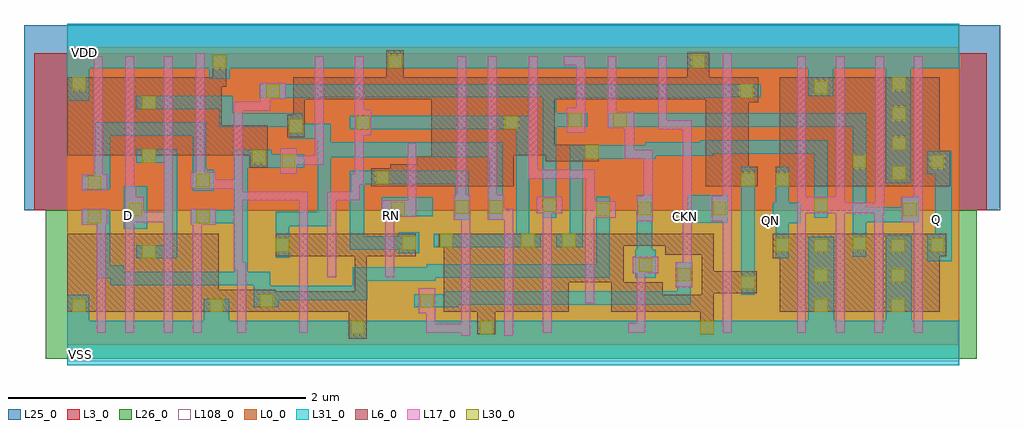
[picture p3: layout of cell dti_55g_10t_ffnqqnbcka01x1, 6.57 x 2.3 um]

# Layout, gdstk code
from math import pi, radians
import gdstk
lib = gdstk.Library(unit=1e-6, precision=1e-09)
def R(c, l, rs):  # rectangles x0, y0, x1, y1
    for r in rs: c.add(gdstk.rectangle(r[:2], r[2:], *l))
def P(c, l, *ps):  # polygons
    for p in ps: c.add(gdstk.Polygon(p, *l))
L0_0 = (0, 0)
L3_0 = (3, 0)
L6_0 = (6, 0)
L17_0 = (17, 0)
L25_0 = (25, 0)
L26_0 = (26, 0)
L30_0 = (30, 0)
L31_0 = (31, 0)
L108_0 = (108, 0)
L923_0 = (923, 0)

template_55g_10t_2 = lib.new_cell('template_55g_10t$2')
R(template_55g_10t_2, L31_0, [(0,-0.15,0.2,0.15), (0,1.85,0.2,2.15)])
template_55g_10t_2.add(gdstk.FlexPath([(0.2,0.21),(0,0.21)], 0, ends="flush", simple_path=True, layer=923, datatype=0))  # L923_0
template_55g_10t_2.add(gdstk.FlexPath([(0.2,0.735),(0,0.735)], 0, ends="flush", simple_path=True, layer=923, datatype=0))  # L923_0
template_55g_10t_2.add(gdstk.FlexPath([(0.2,0.895),(0,0.895)], 0, ends="flush", simple_path=True, layer=923, datatype=0))  # L923_0
template_55g_10t_2.add(gdstk.FlexPath([(0.2,1.055),(0,1.055)], 0, ends="flush", simple_path=True, layer=923, datatype=0))  # L923_0
template_55g_10t_2.add(gdstk.FlexPath([(0.2,1.79),(0,1.79)], 0, ends="flush", simple_path=True, layer=923, datatype=0))  # L923_0

cellgrid_nom2_2 = lib.new_cell('cellgrid_noM2$2')
R(cellgrid_nom2_2, L0_0, [(0,0,0.2,0.2)])
cellgrid_nom2_2.add(gdstk.FlexPath([(0.2,0),(0,0.2)], 0, ends="flush", simple_path=True, layer=0, datatype=0))  # L0_0
cellgrid_nom2_2.add(gdstk.FlexPath([(0.2,0.2),(0,0)], 0, ends="flush", simple_path=True, layer=0, datatype=0))  # L0_0

cnt_n_2 = lib.new_cell('cnt_n$2')
R(cnt_n_2, L6_0, [(-0.06,-0.075,0.06,0.075)])
R(cnt_n_2, L30_0, [(-0.045,-0.045,0.045,0.045)])
R(cnt_n_2, L31_0, [(-0.045,-0.045,0.045,0.045)])

pmos_735_n_2 = lib.new_cell('pmos_735_n_2')
R(pmos_735_n_2, L3_0, [(-0.275,-0.16,0.335,0.895)])
R(pmos_735_n_2, L6_0, [(-0.115,0,0.175,0.735)])
R(pmos_735_n_2, L17_0, [(0,-0.14,0.06,0.875)])
R(pmos_735_n_2, L25_0, [(-0.245,-0.16,0.305,0.895)])

pmos_4_n_2 = lib.new_cell('pmos_4_n_2')
R(pmos_4_n_2, L3_0, [(-0.275,-0.16,0.335,0.56)])
R(pmos_4_n_2, L6_0, [(-0.115,0,0.175,0.4)])
R(pmos_4_n_2, L17_0, [(0,-0.14,0.06,0.54)])
R(pmos_4_n_2, L25_0, [(-0.245,-0.16,0.305,0.56)])

pmos_15_n_2 = lib.new_cell('pmos_15_n_2')
R(pmos_15_n_2, L3_0, [(-0.275,-0.16,0.335,0.31)])
R(pmos_15_n_2, L6_0, [(-0.115,0,0.175,0.15)])
R(pmos_15_n_2, L17_0, [(0,-0.14,0.06,0.29)])
R(pmos_15_n_2, L25_0, [(-0.245,-0.16,0.305,0.31)])

nmos_525_n_2 = lib.new_cell('nmos_525_n_2')
R(nmos_525_n_2, L6_0, [(-0.115,0,0.175,0.525)])
R(nmos_525_n_2, L17_0, [(0,-0.14,0.06,0.665)])
R(nmos_525_n_2, L26_0, [(-0.245,-0.16,0.305,0.685)])

cnt_2 = lib.new_cell('cnt$2')
R(cnt_2, L30_0, [(-0.045,-0.045,0.045,0.045)])
R(cnt_2, L31_0, [(-0.045,-0.045,0.045,0.045)])

pcnt_v_1 = lib.new_cell('pcnt_v$1')
R(pcnt_v_1, L17_0, [(-0.055,-0.085,0.055,0.085)])
P(pcnt_v_1, L17_0, [(0.005,0.04),(0.005,0.04),(0.005,0.04),(0.005,0.04)])
pcnt_v_1.add(gdstk.Reference(cnt_2, (0,0)))

cnt = lib.new_cell('cnt')
R(cnt, L30_0, [(-0.045,-0.045,0.045,0.045)])
R(cnt, L31_0, [(-0.045,-0.045,0.045,0.045)])

nmos_15_n_2 = lib.new_cell('nmos_15_n_2')
R(nmos_15_n_2, L6_0, [(-0.115,0,0.175,0.15)])
R(nmos_15_n_2, L17_0, [(0,-0.14,0.06,0.29)])
R(nmos_15_n_2, L26_0, [(-0.245,-0.16,0.305,0.31)])

nmos_1_n_2 = lib.new_cell('nmos_1_n_2')
R(nmos_1_n_2, L6_0, [(-0.115,0,0.175,0.14)])
R(nmos_1_n_2, L17_0, [(0,-0.14,0.06,0.27)])
R(nmos_1_n_2, L26_0, [(-0.245,-0.16,0.305,0.275)])

dti_55g_10t_ffnqqnbcka01 = lib.new_cell('dti_55g_10t_ffnqqnbcka01x1')
R(dti_55g_10t_ffnqqnbcka01, L3_0, [(-0.22,0.895,6.185,1.95)])
R(dti_55g_10t_ffnqqnbcka01, L6_0, [(2.76,0.06,2.88,0.26), (4.26,0.06,4.35,0.21), (1.895,0.18,2.015,0.21), (1.935,0.18,2.015,0.735), (0,0.21,0.105,0.735), (1.02,0.21,1.03,0.36), (1.39,0.21,1.485,0.35), (1.7,0.21,2.015,0.35), (3.745,0.36,4.005,0.41), (3.375,0.41,3.66,0.535), (3.375,0.535,3.66,0.585), (4.745,0.57,4.795,0.735), (1.405,0.585,1.445,0.735), (1.925,0.585,1.935,0.735), (2.015,0.585,2.025,0.735), (2.295,0.585,2.345,0.735), (2.5,0.645,2.535,0.735), (2.385,1.055,2.545,1.205), (4.585,1.055,4.645,1.185), (4.765,1.055,4.795,1.185), (5.87,1.055,5.94,1.295), (2.35,1.205,2.45,1.255), (2.45,1.205,2.52,1.64), (0.505,1.215,0.595,1.265), (3.22,1.225,3.575,1.335), (1.25,1.26,1.35,1.415), (0,1.265,0.105,1.79), (1.04,1.415,1.35,1.465), (1.52,1.51,1.6,1.79), (4.585,1.62,4.65,1.79), (2.08,1.64,2.54,1.79), (3.26,1.64,3.38,1.79), (3.78,1.64,3.885,1.79), (4.125,1.64,4.18,1.79), (4.17,1.64,4.32,1.94), (0.98,1.725,1.07,1.94), (2.145,1.79,2.265,1.82)])
P(dti_55g_10t_ffnqqnbcka01, L6_0, [(3.66,0.21),(3.66,0.645),(3.66,0.645),(3.66,0.735),(4.075,0.735),(4.075,0.655),(3.745,0.655),(3.745,0.21)],
  [(3.995,0.21),(3.995,0.35),(4.005,0.35),(4.005,0.325),(4.27,0.325),(4.27,0.585),(4.27,0.585),(4.27,0.735),(4.35,0.735),(4.35,0.21)],
  [(0.14,0.285),(0.14,0.285),(0.14,0.285),(0.14,0.285)])
R(dti_55g_10t_ffnqqnbcka01, L17_0, [(2.65,0.05,2.71,0.07), (2.94,0.05,3,0.07), (3.775,0.07,3.89,0.135), (4.41,0.07,4.47,0.195), (3.485,0.27,3.545,0.375), (3.485,0.375,3.545,0.445), (4.41,0.595,4.47,0.9), (1.12,0.67,1.18,1.055), (0.39,0.815,0.71,0.885), (5.695,0.815,5.755,0.98), (2.83,0.83,3,0.905), (0.65,0.84,0.71,1.155), (1.56,0.85,1.62,1.02), (2.12,0.85,2.35,0.96), (4.14,0.85,4.2,1.5), (4.14,0.855,4.195,0.955), (3.49,0.875,3.55,1.12), (4.91,0.875,4.985,0.985), (5.14,0.875,5.185,0.985), (5.17,0.875,5.455,0.945), (5.435,0.875,5.495,0.94), (5.695,0.88,5.755,0.955), (0.39,0.885,0.465,1.055), (4.955,0.885,5.11,0.985), (4.415,0.9,4.47,0.915), (2.62,0.91,2.68,1.345), (2.83,0.91,2.89,1.345), (1.155,0.96,1.62,1.02), (3.88,0.965,3.94,1.3), (4.42,0.975,4.47,1.05), (1.12,1.005,1.18,1.125), (0.945,1.04,1.16,1.1), (0.39,1.045,0.45,1.125), (0.865,1.105,0.925,1.14), (3.105,1.105,3.55,1.165), (1.53,1.2,1.69,1.26), (1.665,1.2,1.725,1.51), (3.75,1.24,3.815,1.555), (3.785,1.24,3.915,1.3), (3.455,1.415,3.485,1.515), (3.975,1.44,4.15,1.5), (1.12,1.455,1.18,1.585), (1.12,1.565,1.36,1.625), (1.3,1.565,1.365,1.675), (3.425,1.85,3.485,1.93), (3.34,1.87,3.425,1.93), (0.865,1.93,0.925,1.95), (4.41,1.93,4.47,1.95)])
P(dti_55g_10t_ffnqqnbcka01, L17_0, [(1.12,0.49),(1.12,0.585),(1.12,0.585),(1.12,0.67),(1.18,0.67),(1.18,0.545),(1.205,0.545),(1.205,0.49)],
  [(2.415,0.07),(2.415,0.22),(2.475,0.22),(2.475,0.13),(2.665,0.13),(2.665,0.07)],
  [(1.75,0.83),(1.75,1.02),(1.91,1.02),(1.91,1.135),(1.935,1.135),(1.935,1.4),(1.995,1.4),(1.995,1.065),(1.97,1.065),(1.97,0.96),(1.81,0.96),(1.81,0.83)])
R(dti_55g_10t_ffnqqnbcka01, L25_0, [(-0.29,0.895,6.275,2.14)])
R(dti_55g_10t_ffnqqnbcka01, L26_0, [(-0.145,-0.105,6.12,0.895)])
R(dti_55g_10t_ffnqqnbcka01, L31_0, [(0.92,-0.01,1.09,0.3), (0,-0.005,0.15,0.325), (4.985,0.15,5.16,0.715), (5.505,0.15,5.68,0.725), (2.335,0.24,2.63,0.33), (1.92,0.42,2.48,0.51), (0.255,0.46,0.38,0.525), (0.465,0.57,0.655,0.66), (0.65,0.57,0.74,1.215), (2.23,0.605,2.37,0.745), (0.38,0.77,0.54,1.055), (2.115,0.855,2.46,0.98), (0.845,1.025,0.985,1.165), (5.505,1.075,5.675,1.99), (0.465,1.215,0.74,1.305), (3.635,1.455,4.365,1.545), (0,1.63,0.15,1.985), (4.985,1.66,5.155,1.985), (0.955,1.78,1.095,1.985), (2.13,1.85,2.285,1.99), (4.155,1.85,4.34,1.99)])
P(dti_55g_10t_ffnqqnbcka01, L31_0, [(1.405,0.575),(1.405,0.675),(1.405,0.675),(1.405,0.885),(1.685,0.885),(1.685,1.375),(1.495,1.375),(1.495,1.45),(1.495,1.45),(1.495,1.455),(1.025,1.455),(1.025,1.575),(0.465,1.575),(0.465,1.665),(1.115,1.665),(1.115,1.545),(1.585,1.545),(1.585,1.475),(1.775,1.475),(1.775,1.35),(2.93,1.35),(2.93,0.83),(2.84,0.83),(2.84,1.25),(1.775,1.25),(1.775,0.785),(1.495,0.785),(1.495,0.575)],
  [(2.54,0.26),(2.54,0.35),(2.595,0.35),(2.595,0.35),(4.105,0.35),(4.105,0.545),(4.195,0.545),(4.195,0.26),(2.605,0.26),(2.605,0.26)],
  [(1.255,0.24),(1.255,0.39),(0.29,0.39),(0.29,0.435),(0.2,0.435),(0.2,0.48),(1.125,0.48),(1.125,0.805),(0.83,0.805),(0.83,0.895),(1.125,0.895),(1.125,1.3),(1.375,1.3),(1.375,1.27),(1.595,1.27),(1.595,1.18),(1.215,1.18),(1.215,0.48),(1.365,0.48),(1.365,0.385),(1.92,0.385),(1.92,0.43),(2.02,0.43),(2.02,0.29),(1.425,0.29),(1.425,0.24)],
  [(0.2,0.435),(0.2,0.805),(0.1,0.805),(0.1,0.895),(0.29,0.895),(0.29,0.435)],
  [(1.9,0.63),(1.9,1.16),(2.7,1.16),(2.7,0.83),(2.61,0.83),(2.61,1.07),(2,1.07),(2,0.72),(2.365,0.72),(2.365,0.63),(2.295,0.63)],
  [(2.465,0.645),(2.465,0.735),(3.02,0.735),(3.02,1.44),(1.9,1.44),(1.9,1.53),(3.11,1.53),(3.11,0.735),(3.185,0.735),(3.185,0.645),(3.12,0.645),(3.01,0.645)],
  [(0.845,1.025),(0.845,1.395),(0.29,1.395),(0.29,1.035),(0.1,1.035),(0.1,1.125),(0.19,1.125),(0.19,1.485),(0.935,1.485),(0.935,1.115),(0.935,1.115),(0.935,1.025)],
  [(4.765,0.57),(4.765,0.805),(4.745,0.805),(4.745,0.945),(4.765,0.945),(4.765,1.185),(4.855,1.185),(4.855,0.945),(4.935,0.945),(4.935,0.805),(4.855,0.805),(4.855,0.57)],
  [(3.29,0.645),(3.29,0.735),(3.38,0.735),(3.38,1.33),(3.89,1.33),(3.89,1.35),(4.26,1.35),(4.26,1.365),(5.115,1.365),(5.115,0.845),(5.025,0.845),(5.025,1.275),(4.345,1.275),(4.345,1.26),(3.96,1.26),(3.96,1.24),(3.47,1.24),(3.47,0.645)],
  [(5.285,0.58),(5.285,1.455),(4.365,1.455),(4.365,1.545),(5.375,1.545),(5.375,0.915),(5.61,0.915),(5.61,0.985),(5.73,0.985),(5.73,0.815),(5.375,0.815),(5.375,0.58)],
  [(4.175,0.81),(4.175,0.995),(4.37,0.995),(4.37,0.995),(4.445,0.995),(4.445,0.81),(4.37,0.81)],
  [(5.785,0.55),(5.785,0.735),(5.84,0.735),(5.84,1.135),(5.785,1.135),(5.785,1.29),(5.95,1.29),(5.95,0.55)],
  [(3.2,0.845),(3.2,1.65),(1.7,1.65),(1.7,1.65),(1.295,1.65),(1.295,1.74),(1.805,1.74),(1.805,1.74),(3.215,1.74),(3.215,1.74),(4.36,1.74),(4.36,1.74),(4.665,1.74),(4.665,1.65),(4.455,1.65),(4.455,1.65),(3.29,1.65),(3.29,1.545),(3.5,1.545),(3.5,1.455),(3.29,1.455),(3.29,0.845)],
  [(3.82,0.44),(3.82,0.63),(3.83,0.63),(3.83,0.995),(3.935,0.995),(3.935,0.63),(3.96,0.63),(3.96,0.44)],
  [(2.42,0.44),(2.42,0.53),(3.56,0.53),(3.56,0.985),(3.65,0.985),(3.65,0.44)],
  [(4.535,0.325),(4.535,1.1),(4.535,1.1),(4.535,1.185),(4.625,1.185),(4.625,0.49),(4.625,0.49),(4.625,0.325)])
R(dti_55g_10t_ffnqqnbcka01, L108_0, [(0,-0.12,6,2.145)])
r = gdstk.Reference(template_55g_10t_2, (0,0)); r.repetition = gdstk.Repetition(30, 1, v1=(0.2,0), v2=(0,0)); dti_55g_10t_ffnqqnbcka01.add(r)
r = gdstk.Reference(cellgrid_nom2_2, (0,-0.01)); r.repetition = gdstk.Repetition(30, 10, v1=(0.2,0), v2=(0,0.2)); dti_55g_10t_ffnqqnbcka01.add(r)
dti_55g_10t_ffnqqnbcka01.add(gdstk.Reference(cnt_n_2, (2.99,1.485), rotation=pi/2))
dti_55g_10t_ffnqqnbcka01.add(gdstk.Reference(pmos_735_n_2, (5.695,1.055)))
dti_55g_10t_ffnqqnbcka01.add(gdstk.Reference(pmos_735_n_2, (5.435,1.055)))
dti_55g_10t_ffnqqnbcka01.add(gdstk.Reference(pmos_735_n_2, (4.41,1.055)))
r = gdstk.Reference(pmos_4_n_2, (3.105,1.265)); r.repetition = gdstk.Repetition(1, 2, v1=(0,0), v2=(0,0.125)); dti_55g_10t_ffnqqnbcka01.add(r)
dti_55g_10t_ffnqqnbcka01.add(gdstk.Reference(pmos_735_n_2, (4.91,1.055)))
dti_55g_10t_ffnqqnbcka01.add(gdstk.Reference(pmos_735_n_2, (5.17,1.055)))
dti_55g_10t_ffnqqnbcka01.add(gdstk.Reference(pmos_735_n_2, (2.625,1.055)))
dti_55g_10t_ffnqqnbcka01.add(gdstk.Reference(pmos_15_n_2, (2.29,1.055)))
dti_55g_10t_ffnqqnbcka01.add(gdstk.Reference(pmos_735_n_2, (2.83,1.055)))
dti_55g_10t_ffnqqnbcka01.add(gdstk.Reference(nmos_525_n_2, (2.94,0.21)))
dti_55g_10t_ffnqqnbcka01.add(gdstk.Reference(nmos_525_n_2, (3.2,0.21)))
dti_55g_10t_ffnqqnbcka01.add(gdstk.Reference(cnt_n_2, (5.595,1.345), rotation=pi/2))
dti_55g_10t_ffnqqnbcka01.add(gdstk.Reference(cnt_n_2, (5.33,1.22), rotation=pi/2))
dti_55g_10t_ffnqqnbcka01.add(gdstk.Reference(cnt_n_2, (5.855,1.22)))
dti_55g_10t_ffnqqnbcka01.add(gdstk.Reference(pmos_15_n_2, (3.975,1.64)))
dti_55g_10t_ffnqqnbcka01.add(gdstk.Reference(pmos_15_n_2, (3.425,1.64)))
dti_55g_10t_ffnqqnbcka01.add(gdstk.Reference(pmos_15_n_2, (3.635,1.64)))
dti_55g_10t_ffnqqnbcka01.add(gdstk.Reference(pcnt_v_1, (3.415,1.5)))
dti_55g_10t_ffnqqnbcka01.add(gdstk.Reference(pcnt_v_1, (3.72,1.5), rotation=pi/2))
dti_55g_10t_ffnqqnbcka01.add(gdstk.Reference(cnt, (3.53,1.285)))
dti_55g_10t_ffnqqnbcka01.add(gdstk.Reference(cnt, (4.58,1.1)))
dti_55g_10t_ffnqqnbcka01.add(gdstk.Reference(cnt_n_2, (4.245,1.895), rotation=pi/2))
dti_55g_10t_ffnqqnbcka01.add(gdstk.Reference(cnt_n_2, (4.57,1.695)))
dti_55g_10t_ffnqqnbcka01.add(gdstk.Reference(cnt, (4.81,1.1)))
dti_55g_10t_ffnqqnbcka01.add(gdstk.Reference(cnt_n_2, (5.07,1.72), rotation=pi/2))
dti_55g_10t_ffnqqnbcka01.add(gdstk.Reference(cnt, (5.595,1.745)))
dti_55g_10t_ffnqqnbcka01.add(gdstk.Reference(cnt_n_2, (5.595,1.145), rotation=pi/2))
dti_55g_10t_ffnqqnbcka01.add(gdstk.Reference(cnt_n_2, (5.595,1.545), rotation=pi/2))
dti_55g_10t_ffnqqnbcka01.add(gdstk.Reference(pcnt_v_1, (1.385,1.695), rotation=pi/2))
dti_55g_10t_ffnqqnbcka01.add(gdstk.Reference(pcnt_v_1, (1.99,1.485)))
dti_55g_10t_ffnqqnbcka01.add(gdstk.Reference(pcnt_v_1, (1.49,1.225)))
dti_55g_10t_ffnqqnbcka01.add(gdstk.Reference(pmos_15_n_2, (1.665,1.64)))
dti_55g_10t_ffnqqnbcka01.add(gdstk.Reference(pcnt_v_1, (0.915,1.095), rotation=pi/2))
dti_55g_10t_ffnqqnbcka01.add(gdstk.Reference(cnt, (1.025,1.895)))
dti_55g_10t_ffnqqnbcka01.add(gdstk.Reference(cnt, (0.55,1.26)))
dti_55g_10t_ffnqqnbcka01.add(gdstk.Reference(cnt_n_2, (0.55,1.62)))
r = gdstk.Reference(pmos_4_n_2, (0.65,1.265)); r.repetition = gdstk.Repetition(1, 2, v1=(0,0), v2=(0,0.125)); dti_55g_10t_ffnqqnbcka01.add(r)
dti_55g_10t_ffnqqnbcka01.add(gdstk.Reference(pmos_15_n_2, (1.935,1.64)))
r = gdstk.Reference(pmos_4_n_2, (0.18,1.265)); r.repetition = gdstk.Repetition(1, 2, v1=(0,0), v2=(0,0.125)); dti_55g_10t_ffnqqnbcka01.add(r)
r = gdstk.Reference(pmos_4_n_2, (0.39,1.265)); r.repetition = gdstk.Repetition(1, 2, v1=(0,0), v2=(0,0.125)); dti_55g_10t_ffnqqnbcka01.add(r)
r = gdstk.Reference(pmos_4_n_2, (0.865,1.265)); r.repetition = gdstk.Repetition(1, 2, v1=(0,0), v2=(0,0.125)); dti_55g_10t_ffnqqnbcka01.add(r)
dti_55g_10t_ffnqqnbcka01.add(gdstk.Reference(pmos_15_n_2, (1.12,1.265)))
dti_55g_10t_ffnqqnbcka01.add(gdstk.Reference(cnt, (0.08,1.745)))
dti_55g_10t_ffnqqnbcka01.add(gdstk.Reference(cnt_n_2, (1.29,1.255)))
dti_55g_10t_ffnqqnbcka01.add(gdstk.Reference(cnt_n_2, (1.54,1.46)))
dti_55g_10t_ffnqqnbcka01.add(gdstk.Reference(cnt_n_2, (2.205,1.895)))
dti_55g_10t_ffnqqnbcka01.add(gdstk.Reference(cnt_n_2, (2.12,1.115), rotation=pi/2))
dti_55g_10t_ffnqqnbcka01.add(gdstk.Reference(pcnt_v_1, (0.185,1.08), rotation=pi/2))
dti_55g_10t_ffnqqnbcka01.add(gdstk.Reference(nmos_15_n_2, (1.56,0.585)))
dti_55g_10t_ffnqqnbcka01.add(gdstk.Reference(nmos_15_n_2, (1.75,0.585)))
dti_55g_10t_ffnqqnbcka01.add(gdstk.Reference(nmos_15_n_2, (2.14,0.585)))
dti_55g_10t_ffnqqnbcka01.add(gdstk.Reference(pcnt_v_1, (0.185,0.85), rotation=pi/2))
dti_55g_10t_ffnqqnbcka01.add(gdstk.Reference(pcnt_v_1, (0.46,0.9)))
dti_55g_10t_ffnqqnbcka01.add(gdstk.Reference(pcnt_v_1, (0.915,0.85), rotation=3*pi/2))
dti_55g_10t_ffnqqnbcka01.add(gdstk.Reference(cnt_n_2, (1.34,0.285)))
dti_55g_10t_ffnqqnbcka01.add(gdstk.Reference(cnt, (1.45,0.66)))
dti_55g_10t_ffnqqnbcka01.add(gdstk.Reference(nmos_525_n_2, (0.845,0.21)))
dti_55g_10t_ffnqqnbcka01.add(gdstk.Reference(cnt, (2.82,0.105)))
dti_55g_10t_ffnqqnbcka01.add(gdstk.Reference(nmos_15_n_2, (1.145,0.21)))
dti_55g_10t_ffnqqnbcka01.add(gdstk.Reference(pcnt_v_1, (2.225,0.905), rotation=pi/2))
dti_55g_10t_ffnqqnbcka01.add(gdstk.Reference(cnt, (2.3,0.675)))
dti_55g_10t_ffnqqnbcka01.add(gdstk.Reference(cnt_n_2, (1.955,0.105)))
dti_55g_10t_ffnqqnbcka01.add(gdstk.Reference(pcnt_v_1, (2.42,0.285)))
dti_55g_10t_ffnqqnbcka01.add(gdstk.Reference(cnt, (2.55,0.69)))
dti_55g_10t_ffnqqnbcka01.add(gdstk.Reference(pcnt_v_1, (2.655,0.915)))
dti_55g_10t_ffnqqnbcka01.add(gdstk.Reference(pcnt_v_1, (2.885,0.915)))
dti_55g_10t_ffnqqnbcka01.add(gdstk.Reference(nmos_525_n_2, (0.2,0.21)))
dti_55g_10t_ffnqqnbcka01.add(gdstk.Reference(nmos_525_n_2, (0.39,0.21)))
dti_55g_10t_ffnqqnbcka01.add(gdstk.Reference(cnt, (0.08,0.255)))
dti_55g_10t_ffnqqnbcka01.add(gdstk.Reference(nmos_525_n_2, (2.65,0.21)))
dti_55g_10t_ffnqqnbcka01.add(gdstk.Reference(cnt_n_2, (0.55,0.615)))
dti_55g_10t_ffnqqnbcka01.add(gdstk.Reference(cnt, (1.005,0.255)))
dti_55g_10t_ffnqqnbcka01.add(gdstk.Reference(nmos_525_n_2, (0.65,0.21)))
dti_55g_10t_ffnqqnbcka01.add(gdstk.Reference(nmos_1_n_2, (1.56,0.21)))
dti_55g_10t_ffnqqnbcka01.add(gdstk.Reference(nmos_15_n_2, (3.485,0.585)))
dti_55g_10t_ffnqqnbcka01.add(gdstk.Reference(pcnt_v_1, (3.245,0.93), rotation=pi/2))
dti_55g_10t_ffnqqnbcka01.add(gdstk.Reference(pcnt_v_1, (3.605,0.9), rotation=pi/2))
dti_55g_10t_ffnqqnbcka01.add(gdstk.Reference(pcnt_v_1, (3.89,0.525), rotation=pi/2))
dti_55g_10t_ffnqqnbcka01.add(gdstk.Reference(pcnt_v_1, (3.885,0.905)))
dti_55g_10t_ffnqqnbcka01.add(gdstk.Reference(pcnt_v_1, (5.67,0.9)))
dti_55g_10t_ffnqqnbcka01.add(gdstk.Reference(pcnt_v_1, (4.39,0.905)))
dti_55g_10t_ffnqqnbcka01.add(gdstk.Reference(cnt_n_2, (5.855,0.66)))
dti_55g_10t_ffnqqnbcka01.add(gdstk.Reference(cnt, (3.1,0.69)))
dti_55g_10t_ffnqqnbcka01.add(gdstk.Reference(pcnt_v_1, (4.15,0.46)))
dti_55g_10t_ffnqqnbcka01.add(gdstk.Reference(nmos_525_n_2, (4.91,0.21)))
dti_55g_10t_ffnqqnbcka01.add(gdstk.Reference(cnt, (3.375,0.69)))
dti_55g_10t_ffnqqnbcka01.add(gdstk.Reference(nmos_15_n_2, (3.83,0.21)))
dti_55g_10t_ffnqqnbcka01.add(gdstk.Reference(cnt_n_2, (4.58,0.41)))
dti_55g_10t_ffnqqnbcka01.add(gdstk.Reference(cnt, (4.305,0.105)))
dti_55g_10t_ffnqqnbcka01.add(gdstk.Reference(cnt, (4.81,0.66)))
dti_55g_10t_ffnqqnbcka01.add(gdstk.Reference(nmos_1_n_2, (4.14,0.595)))
dti_55g_10t_ffnqqnbcka01.add(gdstk.Reference(nmos_15_n_2, (4.41,0.335)))
dti_55g_10t_ffnqqnbcka01.add(gdstk.Reference(nmos_525_n_2, (5.695,0.21)))
dti_55g_10t_ffnqqnbcka01.add(gdstk.Reference(nmos_525_n_2, (5.43,0.21)))
dti_55g_10t_ffnqqnbcka01.add(gdstk.Reference(nmos_525_n_2, (5.17,0.21)))
dti_55g_10t_ffnqqnbcka01.add(gdstk.Reference(pcnt_v_1, (5.07,0.93), rotation=pi/2))
dti_55g_10t_ffnqqnbcka01.add(gdstk.Reference(cnt_n_2, (5.07,0.655), rotation=pi/2))
dti_55g_10t_ffnqqnbcka01.add(gdstk.Reference(cnt, (5.07,0.255)))
dti_55g_10t_ffnqqnbcka01.add(gdstk.Reference(cnt_n_2, (5.07,0.455), rotation=pi/2))
dti_55g_10t_ffnqqnbcka01.add(gdstk.Reference(cnt_n_2, (5.33,0.67), rotation=pi/2))
dti_55g_10t_ffnqqnbcka01.add(gdstk.Reference(cnt_n_2, (5.59,0.655), rotation=pi/2))
dti_55g_10t_ffnqqnbcka01.add(gdstk.Reference(cnt, (5.59,0.255)))
dti_55g_10t_ffnqqnbcka01.add(gdstk.Reference(cnt_n_2, (5.59,0.455), rotation=pi/2))
dti_55g_10t_ffnqqnbcka01.add(gdstk.Label('CKN', (4.16,0.855), layer=131, texttype=0))
dti_55g_10t_ffnqqnbcka01.add(gdstk.Label('QN', (4.73,0.825), layer=131, texttype=0))
dti_55g_10t_ffnqqnbcka01.add(gdstk.Label('VDD', (0.12,1.955), layer=131, texttype=0))
dti_55g_10t_ffnqqnbcka01.add(gdstk.Label('VSS', (0.09,-0.075), layer=131, texttype=0))
dti_55g_10t_ffnqqnbcka01.add(gdstk.Label('D', (0.415,0.86), layer=131, texttype=0))
dti_55g_10t_ffnqqnbcka01.add(gdstk.Label('RN', (2.18,0.86), layer=131, texttype=0))
dti_55g_10t_ffnqqnbcka01.add(gdstk.Label('Q', (5.845,0.835), layer=131, texttype=0))

lib.write_gds('dti_55g_10t_ffnqqnbcka01x1.gds')
